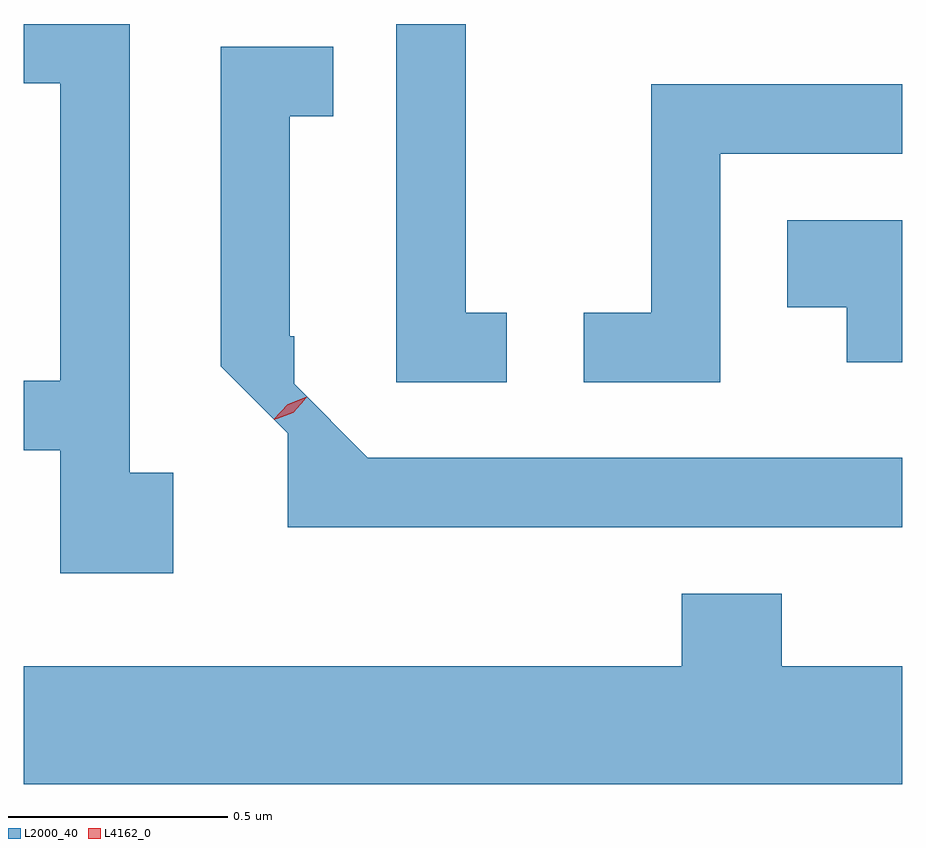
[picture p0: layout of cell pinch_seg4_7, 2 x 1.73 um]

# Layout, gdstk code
import gdstk
lib = gdstk.Library(unit=1e-6, precision=1e-09)
def P(c, l, *ps):  # polygons
    for p in ps: c.add(gdstk.Polygon(p, *l))
L2000_40 = (2000, 40)
L4162_0 = (4162, 0)

pinch_seg4_7 = lib.new_cell('pinch_seg4_7')
P(pinch_seg4_7, L2000_40, [(862.228,1315.789),(862.134,1315.789),(862.134,1316.446),(861.976,1316.446),(861.976,1315.631),(862.228,1315.631)],
  [(861.469,1315.424),(861.369,1315.424),(861.369,1316.446),(861.128,1316.446),(861.128,1316.311),(861.211,1316.311),(861.211,1315.634),(861.128,1315.634),(861.128,1315.476),(861.211,1315.476),(861.211,1315.196),(861.469,1315.196)],
  [(863.128,1315.459),(861.911,1315.459),(861.744,1315.627),(861.744,1315.735),(861.734,1315.735),(861.734,1316.236),(861.833,1316.236),(861.833,1316.394),(861.576,1316.394),(861.576,1315.667),(861.729,1315.514),(861.729,1315.301),(863.128,1315.301)],
  [(862.714,1316.151),(863.128,1316.151),(863.128,1316.309),(862.556,1316.309),(862.556,1315.789),(862.403,1315.789),(862.403,1315.631),(862.714,1315.631)],
  [(863.128,1315.999),(862.866,1315.999),(862.866,1315.801),(863.001,1315.801),(863.001,1315.676),(863.128,1315.676)],
  [(863.128,1314.984),(862.854,1314.984),(862.854,1315.149),(862.626,1315.149),(862.626,1314.984),(861.128,1314.984),(861.128,1314.716),(863.128,1314.716)])
P(pinch_seg4_7, L4162_0, [(861.698,1315.545),(861.697,1315.546),(861.697,1315.546),(861.729,1315.58),(861.772,1315.598),(861.772,1315.597),(861.772,1315.596),(861.74,1315.563)],
  [(861.704,1315.547),(861.704,1315.548),(861.73,1315.578),(861.768,1315.592),(861.768,1315.592),(861.768,1315.591),(861.742,1315.561),(861.705,1315.547)])

lib.write_gds('pinch_seg4_7.gds')
